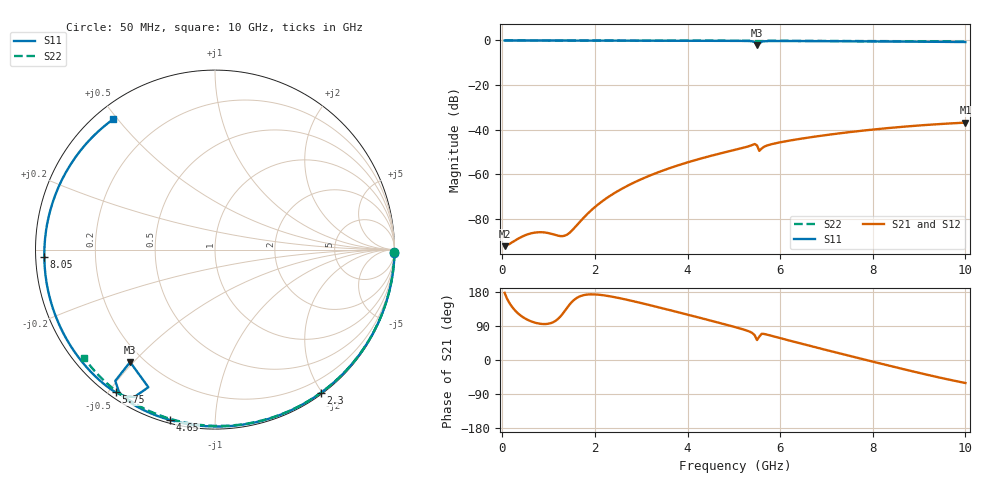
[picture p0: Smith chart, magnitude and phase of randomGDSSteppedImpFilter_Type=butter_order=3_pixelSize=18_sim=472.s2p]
! freq	dB(S11)	phase(S11)	dB(S12)	phase(S12)
!  dB(S21)	phase(S21)	dB(S22)	phase(S22)
!S-par simulation data
#  GHz  S  DB  R 50
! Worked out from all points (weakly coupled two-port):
!   200 points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, 50 MHz to 10 GHz, reference 50 ohm
!   highest |S21| = -36.77 dB at 10 GHz (marker M1); lowest = -92.1 dB at 50 MHz (marker M2)
!   lowest |S11| = -2.1 dB at 5.5 GHz (marker M3), VSWR 8.31, Z = 7.48 - j24.5 ohm
!   |S11| at or under -10 dB: nowhere
!   |S22| runs from -0.5 to 0.0 dB; largest |S21 - S12| = 0
!   S11 on the Smith chart (normalised r, x): 50 MHz: 0, -96; 2.3 GHz: 0.02, -1.98; 4.65 GHz: 0.01, -0.77; 5.75 GHz: 0.02, -0.52; 8.05 GHz: 0.02, -0.02; 10 GHz: 0.05, +0.49
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0.05  -0.00 -1.2  -92.09 177.2  -92.09 177.2  -0.00 -0.8
0.85  -0.02 -20.2  -85.86 95.2  -85.86 95.2  -0.02 -13.7
1.75  -0.05 -41.1  -79.50 171.0  -79.50 171.0  -0.04 -28.0
2  -0.06 -46.8  -74.58 173.1  -74.58 173.1  -0.04 -31.9
2.3  -0.07 -53.6  -69.93 168.6  -69.93 168.6  -0.05 -36.6
2.8  -0.08 -64.8  -64.05 156.0  -64.05 156.0  -0.06 -44.2
3.4  -0.10 -77.9  -58.75 138.3  -58.75 138.3  -0.07 -53.2
4  -0.13 -90.9  -54.58 119.8  -54.58 119.8  -0.09 -62.0
4.65  -0.16 -104.8  -50.87 99.2  -50.87 99.2  -0.10 -71.3
5.05  -0.19 -113.7  -48.84 86.1  -48.84 86.1  -0.12 -76.9
5.4  -0.40 -124.1  -46.78 71.1  -46.78 71.1  -0.13 -81.7
5.45  -0.74 -127.2  -46.37 65.3  -46.37 65.3  -0.13 -82.4
5.5  -2.10 -127.0  -46.98 52.7  -46.98 52.7  -0.13 -83.1
5.55  -1.39 -115.8  -49.43 61.6  -49.43 61.6  -0.14 -83.8
5.6  -0.58 -118.7  -48.38 69.1  -48.38 69.1  -0.14 -84.5
5.75  -0.28 -124.8  -46.81 65.9  -46.81 65.9  -0.15 -86.5
6.7  -0.29 -146.7  -43.20 35.6  -43.20 35.6  -0.19 -99.0
7.4  -0.36 -162.3  -41.28 13.9  -41.28 13.9  -0.23 -108.0
8.05  -0.43 -177.5  -39.79 -5.9  -39.79 -5.9  -0.28 -116.2
8.35  -0.46 175.2  -39.19 -14.9  -39.19 -14.9  -0.31 -119.9
9.2  -0.58 152.6  -37.76 -39.7  -37.76 -39.7  -0.39 -130.4
10  -0.71 127.9  -36.77 -60.7  -36.77 -60.7  -0.48 -140.2
